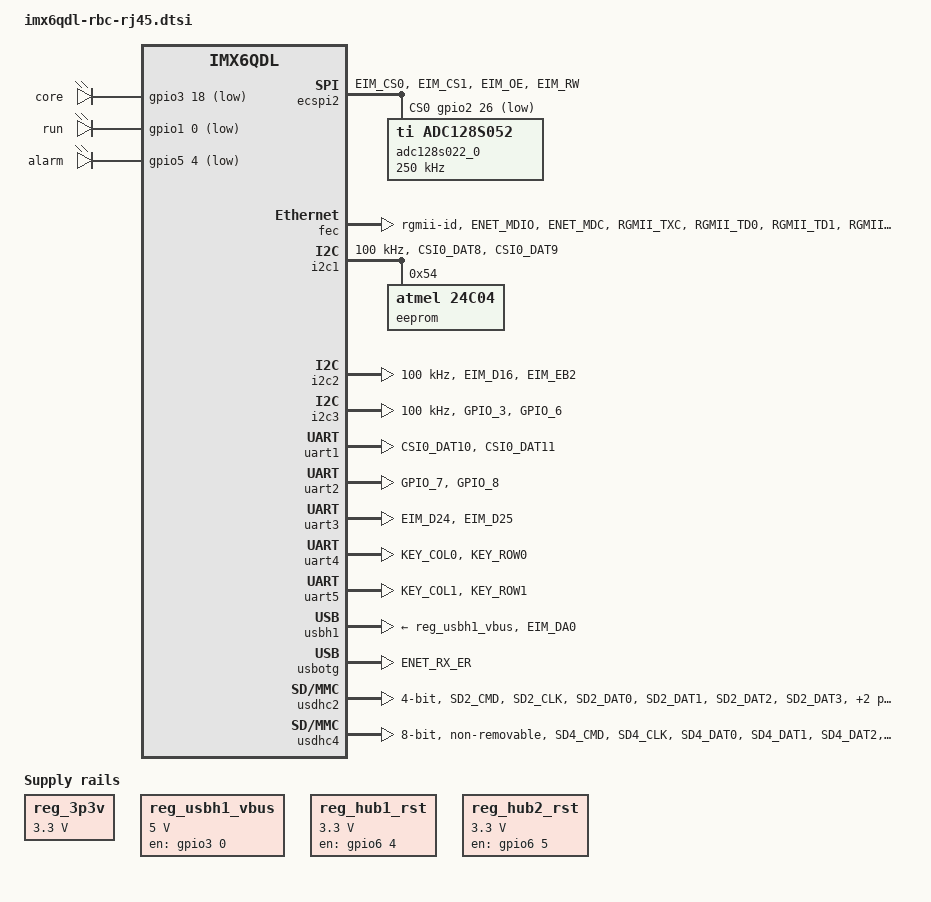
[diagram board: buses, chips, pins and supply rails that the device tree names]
// SPDX-License-Identifier: GPL-2.0-only
/*
 * Copyright 2020 Xbrother, Inc.
 *
 * Author: Feynman Lee <codingmonkey83@gmail.com>
 */

#include <dt-bindings/gpio/gpio.h>
#include <dt-bindings/input/input.h>

/ {
	chosen {
		stdout-path = &uart1;
	};
	regulators {
		compatible = "simple-bus";
		#address-cells = <1>;
		#size-cells = <0>;

		reg_3p3v: regulator@0 {
			compatible = "regulator-fixed";
			reg = <0>;
			regulator-name = "3P3V";
			regulator-min-microvolt = <3300000>;
			regulator-max-microvolt = <3300000>;
			regulator-always-on;
		};

		reg_usbh1_vbus: regulator@1 {
			compatible = "regulator-fixed";
			reg = <1>;
			pinctrl-names = "default";
			regulator-name = "usbh1_vbus";
			regulator-min-microvolt = <5000000>;
			regulator-max-microvolt = <5000000>;
			gpio = <&gpio3 0 GPIO_ACTIVE_HIGH>;
			enable-active-high;
		};

		reg_hub1_rst: regulator@2 {
			compatible = "regulator-fixed";
			reg = <2>;
			pinctrl-names = "default";
			regulator-name = "hub1_rst";
			regulator-min-microvolt = <3300000>;
			regulator-max-microvolt = <3300000>;
			gpio = <&gpio6 4 GPIO_ACTIVE_HIGH>;
			enable-active-high;
			regulator-always-on;
			regulator-boot-on;
		};

		reg_hub2_rst: regulator@3 {
			compatible = "regulator-fixed";
			reg = <3>;
			pinctrl-names = "default";
			regulator-name = "hub2_rst";
			regulator-min-microvolt = <3300000>;
			regulator-max-microvolt = <3300000>;
			gpio = <&gpio6 5 GPIO_ACTIVE_HIGH>;
			enable-active-high;
			regulator-always-on;
			regulator-boot-on;
		};

		
	};

	leds {
		compatible = "gpio-leds";
		pinctrl-names = "default";
		pinctrl-0 = <&pinctrl_led>;

		led0: core {
			label = "core";
			gpios = <&gpio3 18 GPIO_ACTIVE_LOW>;
			default-state = "off";
			linux,default-trigger = "heartbeat";
		};

		led1:run {
			label = "run";
			gpios = <&gpio1 0 GPIO_ACTIVE_LOW>;
			default-state = "off";
			linux,default-trigger = "heartbeat";
		};

		led2:alarm {
			label = "alarm";
			gpios = <&gpio5 4 GPIO_ACTIVE_LOW>;
			default-state = "off";
			linux,default-trigger = "none";
		};
	};

};



&ecspi2 {
	cs-gpios = <&gpio2 26 GPIO_ACTIVE_LOW>;
	pinctrl-names = "default";
	pinctrl-0 = <&pinctrl_ecspi2>;
	status = "okay";

	adc128s022_0@0 {
		compatible = "ti,adc128s052";
		spi-max-frequency = <250000>;
		reg = <0x0>;
	};
};




&fec {
	pinctrl-names = "default";
	pinctrl-0 = <&pinctrl_enet>;
	phy-mode = "rgmii-id";
	// phy-handle = <&phy>;
	fsl,magic-packet;
	status = "okay";

	// mdio {
	// 	#address-cells = <1>;
	// 	#size-cells = <0>;

	// 	phy: ethernet-phy@1 {
	// 		reg = <1>;
	// 		qca,clk-out-frequency = <125000000>;
	// 		reset-gpios = <&gpio1 25 GPIO_ACTIVE_LOW>;
	// 		reset-assert-us = <10000>;
	// 	};
	// };
};


&i2c1 {
	clock-frequency = <100000>;
	pinctrl-names = "default";
	pinctrl-0 = <&pinctrl_i2c1>;
	status = "okay";
	
	eeprom@54 {
		compatible = "atmel,24c04";
		reg = <0x54>;
	};
};

&i2c2 {
	clock-frequency = <100000>;
	pinctrl-names = "default";
	pinctrl-0 = <&pinctrl_i2c2>;
	status = "okay";

};

&i2c3 {
	clock-frequency = <100000>;
	pinctrl-names = "default";
	pinctrl-0 = <&pinctrl_i2c3>;
	status = "okay";
};

&iomuxc {
	pinctrl-names = "default";
	pinctrl-0 = <&pinctrl_hog>;

	imx6qdl-rex {
		pinctrl_hog: hoggrp {
			fsl,pins = <
				
				
				MX6QDL_PAD_CSI0_DAT18__GPIO6_IO04	0x80000000
				MX6QDL_PAD_CSI0_DAT19__GPIO6_IO05	0x80000000
				MX6QDL_PAD_DISP0_DAT7__GPIO4_IO28	0x80000000 //recovery key
				
				MX6QDL_PAD_GPIO_0__GPIO1_IO00		0x80000000 //led-run
				MX6QDL_PAD_EIM_A24__GPIO5_IO04		0x80000000 //led-alarm

				MX6QDL_PAD_DISP0_DAT19__GPIO5_IO13	0x80000000	//DO01
				MX6QDL_PAD_DISP0_DAT20__GPIO5_IO14	0x80000000	//DO02
				MX6QDL_PAD_DISP0_DAT21__GPIO5_IO15	0x80000000	//DO03
				MX6QDL_PAD_DISP0_DAT22__GPIO5_IO16	0x80000000	//DO04
				MX6QDL_PAD_SD3_DAT0__GPIO7_IO04		0x80000000	//DO01-back
				MX6QDL_PAD_SD3_DAT1__GPIO7_IO05		0x80000000	//DO02-back
				MX6QDL_PAD_SD3_DAT2__GPIO7_IO06		0x80000000	//DO03-back
				MX6QDL_PAD_SD3_DAT3__GPIO7_IO07		0x80000000	//DO04-back
				MX6QDL_PAD_DISP0_DAT16__GPIO5_IO10	0x80000000	//DO-OE
				MX6QDL_PAD_DISP0_DAT23__GPIO5_IO17	0x80000000	//DO-LE

				MX6QDL_PAD_DISP0_DAT0__GPIO4_IO21	0x80000000	//DI01
				MX6QDL_PAD_DISP0_DAT1__GPIO4_IO22	0x80000000	//DI02
				MX6QDL_PAD_DISP0_DAT2__GPIO4_IO23	0x80000000	//DI03
				MX6QDL_PAD_DISP0_DAT3__GPIO4_IO24	0x80000000	//DI04
				MX6QDL_PAD_DISP0_DAT4__GPIO4_IO25	0x80000000	//DI05
				MX6QDL_PAD_DISP0_DAT5__GPIO4_IO26	0x80000000	//DI06
				MX6QDL_PAD_DISP0_DAT10__GPIO4_IO31	0x80000000	//DI07
				MX6QDL_PAD_DISP0_DAT11__GPIO5_IO05	0x80000000	//DI08
				MX6QDL_PAD_DISP0_DAT12__GPIO5_IO06	0x80000000	//DI09
				MX6QDL_PAD_DISP0_DAT13__GPIO5_IO07	0x80000000	//DI10
				MX6QDL_PAD_DISP0_DAT14__GPIO5_IO08	0x80000000	//DI11
				MX6QDL_PAD_DISP0_DAT15__GPIO5_IO09	0x80000000	//DI12

				MX6QDL_PAD_DI0_PIN15__GPIO4_IO17	0x80000000	//AI01-switch
				MX6QDL_PAD_DI0_PIN3__GPIO4_IO19		0x80000000	//AI02-switch
				MX6QDL_PAD_DI0_PIN2__GPIO4_IO18		0x80000000	//AI03-switch
				MX6QDL_PAD_DI0_DISP_CLK__GPIO4_IO16	0x80000000	//AI04-switch

				MX6QDL_PAD_KEY_ROW2__GPIO4_IO11		0x80000000	//uart1-485/232switch
				MX6QDL_PAD_KEY_ROW3__GPIO4_IO13		0x80000000	//uart1-485/232switch

		
				MX6QDL_PAD_DISP0_DAT18__GPIO5_IO12	0x80000000	//4g-pwr
				MX6QDL_PAD_DISP0_DAT6__GPIO4_IO27	0x80000000	//4g-open
			>;
		};

		

		pinctrl_ecspi1: ecspi1grp {
			fsl,pins = <
				MX6QDL_PAD_DISP0_DAT20__ECSPI1_SCLK 0x100b1 
				MX6QDL_PAD_DISP0_DAT21__ECSPI1_MOSI 0x100b1 
				MX6QDL_PAD_DISP0_DAT22__ECSPI1_MISO 0x100b1
				/* CS */
				MX6QDL_PAD_DISP0_DAT23__GPIO5_IO17 0x80000000
			>;
		};
		
		pinctrl_ecspi2: ecspi2grp {
			fsl,pins = <
				MX6QDL_PAD_EIM_CS0__ECSPI2_SCLK	0x100b1 
				MX6QDL_PAD_EIM_CS1__ECSPI2_MOSI	0x100b1 
				MX6QDL_PAD_EIM_OE__ECSPI2_MISO	0x100b1
				/* CS */
				MX6QDL_PAD_EIM_RW__GPIO2_IO26	0x000b1
			>;
		};

		pinctrl_ecspi3: ecspi3grp {
			fsl,pins = <
				MX6QDL_PAD_DISP0_DAT2__ECSPI3_MISO 0x100b1 
                MX6QDL_PAD_DISP0_DAT1__ECSPI3_MOSI 0x100b1 
                MX6QDL_PAD_DISP0_DAT0__ECSPI3_SCLK 0x100b1
				/* CS */
				MX6QDL_PAD_DISP0_DAT3__GPIO4_IO24 0x80000000
			>;
		};

		pinctrl_ecspi4: ecspi4grp {
			fsl,pins = <
				MX6QDL_PAD_EIM_D21__ECSPI4_SCLK 0x100b1 
                MX6QDL_PAD_EIM_D22__ECSPI4_MISO 0x100b1 
                MX6QDL_PAD_EIM_D28__ECSPI4_MOSI 0x100b1
				/* CS */
				MX6QDL_PAD_EIM_D20__GPIO3_IO20 0x80000000
			>;
		};

		pinctrl_enet: enetgrp {
			fsl,pins = <
				MX6QDL_PAD_ENET_MDIO__ENET_MDIO		0x1b0b0
				MX6QDL_PAD_ENET_MDC__ENET_MDC		0x1b0b0
				MX6QDL_PAD_RGMII_TXC__RGMII_TXC		0x1b030
				MX6QDL_PAD_RGMII_TD0__RGMII_TD0		0x1b030
				MX6QDL_PAD_RGMII_TD1__RGMII_TD1		0x1b030
				MX6QDL_PAD_RGMII_TD2__RGMII_TD2		0x1b030
				MX6QDL_PAD_RGMII_TD3__RGMII_TD3		0x1b030
				MX6QDL_PAD_RGMII_TX_CTL__RGMII_TX_CTL	0x1b030
				MX6QDL_PAD_ENET_REF_CLK__ENET_TX_CLK	0x1b0b0
				MX6QDL_PAD_RGMII_RXC__RGMII_RXC		0x1b030
				MX6QDL_PAD_RGMII_RD0__RGMII_RD0		0x1b030
				MX6QDL_PAD_RGMII_RD1__RGMII_RD1		0x1b030
				MX6QDL_PAD_RGMII_RD2__RGMII_RD2		0x1b030
				MX6QDL_PAD_RGMII_RD3__RGMII_RD3		0x1b030
				MX6QDL_PAD_RGMII_RX_CTL__RGMII_RX_CTL	0x1b030
				
			>;
		};

		pinctrl_i2c1: i2c1grp {
			fsl,pins = <
				MX6QDL_PAD_CSI0_DAT8__I2C1_SDA		0x4001b8b1
				MX6QDL_PAD_CSI0_DAT9__I2C1_SCL		0x4001b8b1
			>;
		};

		pinctrl_i2c2: i2c2grp {
			fsl,pins = <
				MX6QDL_PAD_EIM_D16__I2C2_SDA 0x4001b8b1 
				MX6QDL_PAD_EIM_EB2__I2C2_SCL 0x4001b8b1
			>;
		};

		pinctrl_i2c3: i2c3grp {
			fsl,pins = <
				MX6QDL_PAD_GPIO_3__I2C3_SCL 0x4001b8b1 
				MX6QDL_PAD_GPIO_6__I2C3_SDA 0x4001b8b1
			>;
		};

		pinctrl_led: ledgrp {
			fsl,pins = <
				/* run led */
				MX6QDL_PAD_GPIO_0__GPIO1_IO00 0x80000000
				/* alarm led */
				MX6QDL_PAD_EIM_A24__GPIO5_IO04 0x80000000 
				/* core led */
				MX6QDL_PAD_EIM_D18__GPIO3_IO18 0x80000000
			>;
		};

		pinctrl_tca6424: tca6424grp {
			fsl,pins = <
				MX6QDL_PAD_DISP0_DAT16__GPIO5_IO10	0x17059
		   >;
		};

		pinctrl_uart1: uart1grp {
			fsl,pins = <
				MX6QDL_PAD_CSI0_DAT10__UART1_TX_DATA	0x1b0b1
				MX6QDL_PAD_CSI0_DAT11__UART1_RX_DATA	0x1b0b1
			>;
		};

		pinctrl_uart2: uart2grp {
			fsl,pins = <
				MX6QDL_PAD_GPIO_7__UART2_TX_DATA 	0x1b0b1 
				MX6QDL_PAD_GPIO_8__UART2_RX_DATA 	0x1b0b1 
			>;
		};
		pinctrl_uart2_rts: uart2grp_rts {
			fsl,pins = <
				MX6QDL_PAD_KEY_ROW4__GPIO4_IO15 	0x4001b0b1
			>;
		};

		pinctrl_uart3: uart3grp {
			fsl,pins = <
				MX6QDL_PAD_EIM_D24__UART3_TX_DATA 	0x1b0b1 
				MX6QDL_PAD_EIM_D25__UART3_RX_DATA 	0x1b0b1 
				
			>;
		};
		pinctrl_uart3_rts: uart3grp_rts {
			fsl,pins = <
				MX6QDL_PAD_KEY_COL2__GPIO4_IO10 	0x4001b0b1
			>;
		};
		
		pinctrl_uart4: uart4grp {
			fsl,pins = <
				MX6QDL_PAD_KEY_COL0__UART4_TX_DATA 	0x1b0b1 
				MX6QDL_PAD_KEY_ROW0__UART4_RX_DATA 	0x1b0b1 
			>;
		};
		pinctrl_uart4_rts: uart4grp_rts {
			fsl,pins = <
				MX6QDL_PAD_KEY_COL3__GPIO4_IO12 	0x4001b0b1
			>;
		};

		pinctrl_uart5: uart5grp {
			fsl,pins = <
				MX6QDL_PAD_KEY_COL1__UART5_TX_DATA 	0x1b0b1 
				MX6QDL_PAD_KEY_ROW1__UART5_RX_DATA 	0x1b0b1 
			>;
		};
		pinctrl_uart5_rts: uart5grp_rts {
			fsl,pins = <
				MX6QDL_PAD_KEY_COL4__GPIO4_IO14 	0x4001b0b1
			>;
		};


		pinctrl_usbh1: usbh1grp {
			fsl,pins = <
				/* power enable, high active */
				MX6QDL_PAD_EIM_DA0__GPIO3_IO00		0x10b0
			>;
		};

		pinctrl_usbotg: usbotggrp {
			fsl,pins = <
				MX6QDL_PAD_ENET_RX_ER__USB_OTG_ID	0x17059
			>;
		};

		pinctrl_usdhc2: usdhc2grp {
			fsl,pins = <
				MX6QDL_PAD_SD2_CMD__SD2_CMD		0x17059
				MX6QDL_PAD_SD2_CLK__SD2_CLK		0x10059
				MX6QDL_PAD_SD2_DAT0__SD2_DATA0		0x17059
				MX6QDL_PAD_SD2_DAT1__SD2_DATA1		0x17059
				MX6QDL_PAD_SD2_DAT2__SD2_DATA2		0x17059
				MX6QDL_PAD_SD2_DAT3__SD2_DATA3		0x17059
				/* CD */
				MX6QDL_PAD_GPIO_4__GPIO1_IO04		0x1b0b0
			>;
		};

		pinctrl_usdhc4: usdhc4grp {
			fsl,pins = <
				MX6QDL_PAD_SD4_CMD__SD4_CMD 0x17059 
				MX6QDL_PAD_SD4_CLK__SD4_CLK 0x10059 
				MX6QDL_PAD_SD4_DAT0__SD4_DATA0 0x17059 
				MX6QDL_PAD_SD4_DAT1__SD4_DATA1 0x17059 
				MX6QDL_PAD_SD4_DAT2__SD4_DATA2 0x17059 
				MX6QDL_PAD_SD4_DAT3__SD4_DATA3 0x17059 
				MX6QDL_PAD_SD4_DAT4__SD4_DATA4 0x17059 
				MX6QDL_PAD_SD4_DAT5__SD4_DATA5 0x17059 
				MX6QDL_PAD_SD4_DAT6__SD4_DATA6 0x17059 
				MX6QDL_PAD_SD4_DAT7__SD4_DATA7 0x17059
			>;
		};
	};
};


&uart1 {
	pinctrl-names = "default";
	pinctrl-0 = <&pinctrl_uart1>;
	status = "okay";
};

&uart2 {
	pinctrl-names = "default";
	pinctrl-0 = <&pinctrl_uart2>;
	status = "okay";
	
};

&uart3 {
	pinctrl-names = "default";
	pinctrl-0 = <&pinctrl_uart3>;
	status = "okay";
};

&uart4 {
	pinctrl-names = "default";
	pinctrl-0 = <&pinctrl_uart4>;
	status = "okay";
};

&uart5 {
	pinctrl-names = "default";
	pinctrl-0 = <&pinctrl_uart5>;
	status = "okay";
};

&usbh1 {
	vbus-supply = <&reg_usbh1_vbus>;
	pinctrl-names = "default";
	pinctrl-0 = <&pinctrl_usbh1>;
	status = "okay";
};

&usbotg {
	// vbus-supply = <&reg_usb_otg_vbus>;
	pinctrl-names = "default";
	pinctrl-0 = <&pinctrl_usbotg>;
	status = "okay";
};

&usdhc2 {
	pinctrl-names = "default";
	pinctrl-0 = <&pinctrl_usdhc2>;
	bus-width = <4>;
	cd-gpios = <&gpio1 4 GPIO_ACTIVE_LOW>;
	status = "okay";
};

&usdhc4 {
	pinctrl-names = "default";
	pinctrl-0 = <&pinctrl_usdhc4>;
	bus-width = <8>;
	status = "okay";
	non-removable;
	// no-1-8-v;
	keep-power-in-suspend;
};


